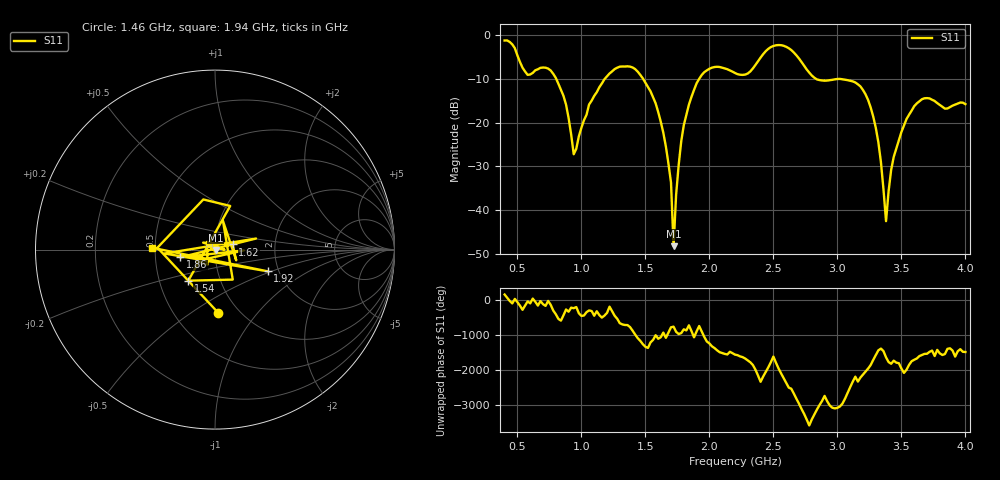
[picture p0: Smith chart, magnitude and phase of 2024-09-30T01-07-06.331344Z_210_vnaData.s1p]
!Created with skrf (http://scikit-rf.org).
# Hz S RI R 50.0
!freq ReS11 ImS11
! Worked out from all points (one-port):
!   181 points, 400 MHz to 4 GHz, reference 50 ohm
!   lowest |S11| = -48.3 dB at 1.72 GHz (marker M1), VSWR 1.01, Z = 50.3 - j0.255 ohm
!   |S11| at or under -10 dB: 803.5 MHz to 1.182 GHz (378.3 MHz wide, 38.1 % of centre); 1.483 GHz to 1.92 GHz (437.1 MHz wide, 25.7 % of centre); 3.023 GHz to end of sweep (the widest 3 of 4)
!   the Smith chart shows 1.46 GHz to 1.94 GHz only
!   S11 on the Smith chart (normalised r, x): 1.46 GHz: 0.80, -0.65; 1.54 GHz: 0.70, -0.26; 1.62 GHz: 1.22, +0.07; 1.86 GHz: 0.67, -0.06; 1.92 GHz: 1.75, -0.47; 1.94 GHz: 0.48, +0.01
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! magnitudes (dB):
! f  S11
! 400 MHz  -1.2
! 580 MHz  -9.1
! 760 MHz  -8.1
! 860 MHz  -13.9
! 940 MHz  -27.2
! 1.06 GHz  -15.8
! 1.3 GHz  -7.2
! 1.46 GHz  -9.1
! 1.54 GHz  -12.8
! 1.62 GHz  -19.8
! 1.7 GHz  -33.7
! 1.72 GHz  -48.3
! 1.76 GHz  -29.7
! 1.86 GHz  -14.1
! 1.92 GHz  -10.0
! 1.94 GHz  -9.1
! 2.2 GHz  -8.6
! 2.5 GHz  -2.5
! 2.66 GHz  -4.0
! 2.84 GHz  -10.1
! 3.1 GHz  -10.4
! 3.28 GHz  -18.6
! 3.34 GHz  -29.0
! 3.38 GHz  -42.5
! 3.44 GHz  -27.8
! 3.56 GHz  -18.2
! 3.68 GHz  -14.4
! 4 GHz  -15.8
